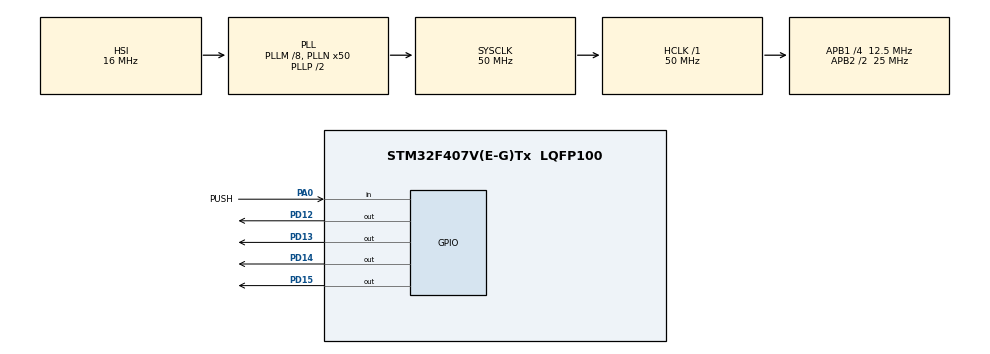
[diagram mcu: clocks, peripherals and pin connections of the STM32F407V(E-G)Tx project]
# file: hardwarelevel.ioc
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Mcu.Family=STM32F4
Mcu.Name=STM32F407V(E-G)Tx
Mcu.Package=LQFP100
NVIC.PriorityGroup=NVIC_PRIORITYGROUP_0
PA0-WKUP.GPIO_Label=PUSH
PA0-WKUP.Signal=GPIO_Input
PA13.Mode=Serial_Wire
PA13.Signal=SYS_JTMS-SWDIO
PA14.Mode=Serial_Wire
PA14.Signal=SYS_JTCK-SWCLK
PD12.Signal=GPIO_Output
PD13.Signal=GPIO_Output
PD14.Signal=GPIO_Output
PD15.Signal=GPIO_Output
ProjectManager.HeapSize=0x200
ProjectManager.StackSize=0x400
ProjectManager.TargetToolchain=STM32CubeIDE
RCC.48MHZClocksFreq_Value=14285714.285714285
RCC.AHBFreq_Value=50000000
RCC.APB1CLKDivider=RCC_HCLK_DIV4
RCC.APB1Freq_Value=12500000
RCC.APB1TimFreq_Value=25000000
RCC.APB2CLKDivider=RCC_HCLK_DIV2
RCC.APB2Freq_Value=25000000
RCC.APB2TimFreq_Value=50000000
RCC.CortexFreq_Value=50000000
RCC.HCLKFreq_Value=50000000
RCC.HSE_VALUE=8000000
RCC.HSI_VALUE=16000000
RCC.LSE_VALUE=32768
RCC.PLLM=8
RCC.PLLN=50
RCC.PLLQ=7
RCC.SYSCLKFreq_VALUE=50000000
RCC.SYSCLKSource=RCC_SYSCLKSOURCE_PLLCLK
RCC.VCOOutputFreq_Value=100000000
board=STM32F407G-DISC1

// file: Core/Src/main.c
/* USER CODE BEGIN Header */
/**
  ******************************************************************************
  * @file           : main.c
  * @brief          : Main program body
  ******************************************************************************
  * @attention
  *
  * <h2><center>&copy; Copyright (c) 2021 STMicroelectronics.
  * All rights reserved.</center></h2>
  *
  * This software component is licensed by ST under Ultimate Liberty license
  * SLA0044, the "License"; You may not use this file except in compliance with
  * the License. You may obtain a copy of the License at:
  *                             www.st.com/SLA0044
  *
  ******************************************************************************
  */
/* USER CODE END Header */
#include "main.h"

void SystemClock_Config(void);
static void MX_GPIO_Init(void);

int main(void)
{

  /* MCU Configuration--------------------------------------------------------*/

  /* Reset of all peripherals, Initializes the Flash interface and the Systick. */
  HAL_Init();

  /* Configure the system clock */
  SystemClock_Config();

  /* Initialize all configured peripherals */
  MX_GPIO_Init();

  /* Infinite loop */
  /* USER CODE BEGIN WHILE */
  while (1)
  {

	  // ignition or gas sensor
	  read_ir= HAL_GPIO_ReadPin(GPIOA, GPIO_PIN_12);

	  if(read_ir == 1)
	  {
	  HAL_GPIO_WritePin(GPIOD, GPIO_PIN_15,GPIO_PIN_SET);
	  HAL_Delay(500);
	  HAL_GPIO_WritePin(GPIOD, GPIO_PIN_15, GPIO_PIN_RESET);
	  HAL_Delay(500);

	  }
	  else
	  {
	  HAL_GPIO_WritePin(GPIOD, GPIO_PIN_12,GPIO_PIN_SET);
	  HAL_Delay(500);
	  HAL_GPIO_WritePin(GPIOD, GPIO_PIN_12, GPIO_PIN_RESET);
	  HAL_Delay(500);

	  }

	  //Alcohol sensor using mq7

	  HAL_ADC_Start(&hadc1);
	  HAL_ADC_PollForConversion(&hadc1, 1000);
	  adc_val = HAL_ADC_GetValue(&hadc1);
	  HAL_ADC_Stop(&hadc1);
	  if( adc_val>200)
	  {
	  HAL_GPIO_WritePin(GPIOD,GPIO_PIN_12,GPIO_PIN_SET);
	  HAL_Delay(10000);
	  }
	  else
	  {
	  HAL_GPIO_WritePin(GPIOD,GPIO_PIN_12,GPIO_PIN_RESET);
	  // HAL_Delay(1000);
	  }

	  /* USER CODE END WHILE */

	  /* USER CODE BEGIN 3 */
	  }

	  }
}

void SystemClock_Config(void)
{
  RCC_OscInitTypeDef RCC_OscInitStruct = {0};
  RCC_ClkInitTypeDef RCC_ClkInitStruct = {0};

  /** Configure the main internal regulator output voltage
  */
  __HAL_RCC_PWR_CLK_ENABLE();
  __HAL_PWR_VOLTAGESCALING_CONFIG(PWR_REGULATOR_VOLTAGE_SCALE1);
  /** Initializes the RCC Oscillators according to the specified parameters
  * in the RCC_OscInitTypeDef structure.
  */
  RCC_OscInitStruct.OscillatorType = RCC_OSCILLATORTYPE_HSI;
  RCC_OscInitStruct.HSIState = RCC_HSI_ON;
  RCC_OscInitStruct.HSICalibrationValue = RCC_HSICALIBRATION_DEFAULT;
  RCC_OscInitStruct.PLL.PLLState = RCC_PLL_ON;
  RCC_OscInitStruct.PLL.PLLSource = RCC_PLLSOURCE_HSI;
  RCC_OscInitStruct.PLL.PLLM = 8;
  RCC_OscInitStruct.PLL.PLLN = 50;
  RCC_OscInitStruct.PLL.PLLP = RCC_PLLP_DIV2;
  RCC_OscInitStruct.PLL.PLLQ = 7;
  if (HAL_RCC_OscConfig(&RCC_OscInitStruct) != HAL_OK)
  {
    Error_Handler();
  }
  /** Initializes the CPU, AHB and APB buses clocks
  */
  RCC_ClkInitStruct.ClockType = RCC_CLOCKTYPE_HCLK|RCC_CLOCKTYPE_SYSCLK
                              |RCC_CLOCKTYPE_PCLK1|RCC_CLOCKTYPE_PCLK2;
  RCC_ClkInitStruct.SYSCLKSource = RCC_SYSCLKSOURCE_PLLCLK;
  RCC_ClkInitStruct.AHBCLKDivider = RCC_SYSCLK_DIV1;
  RCC_ClkInitStruct.APB1CLKDivider = RCC_HCLK_DIV4;
  RCC_ClkInitStruct.APB2CLKDivider = RCC_HCLK_DIV2;

  if (HAL_RCC_ClockConfig(&RCC_ClkInitStruct, FLASH_LATENCY_1) != HAL_OK)
  {
    Error_Handler();
  }
}

static void MX_GPIO_Init(void)
{
  GPIO_InitTypeDef GPIO_InitStruct = {0};

  /* GPIO Ports Clock Enable */
  __HAL_RCC_GPIOA_CLK_ENABLE();
  __HAL_RCC_GPIOD_CLK_ENABLE();

  /*Configure GPIO pin Output Level */
  HAL_GPIO_WritePin(GPIOD, GPIO_PIN_12|GPIO_PIN_13|GPIO_PIN_14|GPIO_PIN_15, GPIO_PIN_RESET);

  /*Configure GPIO pin : PUSH_Pin */
  GPIO_InitStruct.Pin = PUSH_Pin;
  GPIO_InitStruct.Mode = GPIO_MODE_INPUT;
  GPIO_InitStruct.Pull = GPIO_NOPULL;
  HAL_GPIO_Init(PUSH_GPIO_Port, &GPIO_InitStruct);

  /*Configure GPIO pins : PD12 PD13 PD14 PD15 */
  GPIO_InitStruct.Pin = GPIO_PIN_12|GPIO_PIN_13|GPIO_PIN_14|GPIO_PIN_15;
  GPIO_InitStruct.Mode = GPIO_MODE_OUTPUT_PP;
  GPIO_InitStruct.Pull = GPIO_NOPULL;
  GPIO_InitStruct.Speed = GPIO_SPEED_FREQ_LOW;
  HAL_GPIO_Init(GPIOD, &GPIO_InitStruct);

}

void Error_Handler(void)
{
  __disable_irq();
  while (1)
  {
  }
}

/************************ (C) COPYRIGHT STMicroelectronics *****END OF FILE****/
